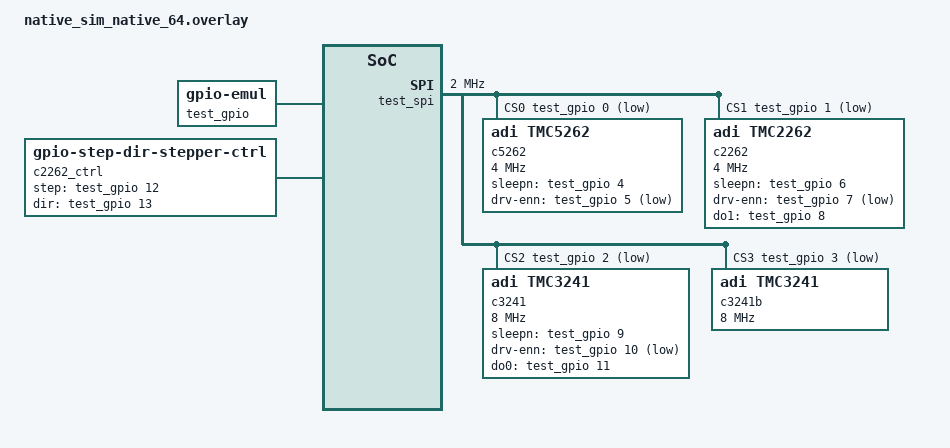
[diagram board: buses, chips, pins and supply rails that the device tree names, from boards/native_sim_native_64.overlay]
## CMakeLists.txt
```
# SPDX-FileCopyrightText: Copyright (c) 2026 Analog Devices, Inc.
# SPDX-License-Identifier: Apache-2.0

cmake_minimum_required(VERSION 3.28.0)
find_package(Zephyr REQUIRED HINTS $ENV{ZEPHYR_BASE})
project(tmc5262)

target_sources(app PRIVATE src/main.c src/tmc5262_emul.c)
# Register map of the driver, used by the emulator and the tests
target_include_directories(app PRIVATE
	${ZEPHYR_BASE}/drivers/stepper/adi_tmc/tmc5262
	${ZEPHYR_BASE}/drivers/stepper/adi_tmc/bus/include)
```

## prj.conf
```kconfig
CONFIG_ZTEST=y
CONFIG_LOG=y
CONFIG_STEPPER=y
CONFIG_STEPPER_LOG_LEVEL_INF=y
CONFIG_SPI=y
CONFIG_SPI_EMUL=y
CONFIG_GPIO=y
CONFIG_GPIO_EMUL=y
CONFIG_EMUL=y
CONFIG_PM_DEVICE=y
CONFIG_STEPPER_ADI_TMC5262_EVENT_POLL_INTERVAL_MS=10
```

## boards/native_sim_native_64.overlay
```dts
/*
 * SPDX-FileCopyrightText: Copyright (c) 2026 Analog Devices, Inc.
 * SPDX-License-Identifier: Apache-2.0
 */

/*
 * One SPI emulator bus with four chips: TMC5262 (ramp generator, event polling), TMC2262
 * (DO1 interrupt, sensor and a STEP/DIR motion controller), TMC3241 (ramp generator) and a
 * second TMC3241 without SLEEPN and DRV_ENN pins (TOFF enable, power management without sleep).
 */

#include <zephyr/dt-bindings/gpio/gpio.h>

/ {
	test_gpio: gpio-tmc5262 {
		compatible = "zephyr,gpio-emul";
		gpio-controller;
		#gpio-cells = <2>;
		rising-edge;
		falling-edge;
		status = "okay";
	};

	/* STEP/DIR motion controller of the TMC2262, which has no ramp generator */
	c2262_ctrl: motion-controller {
		compatible = "zephyr,gpio-step-dir-stepper-ctrl";
		step-gpios = <&test_gpio 12 GPIO_ACTIVE_HIGH>;
		dir-gpios = <&test_gpio 13 GPIO_ACTIVE_HIGH>;
		stepper-driver = <&c2262_drv>;
	};

	test {
		#address-cells = <1>;
		#size-cells = <1>;

		test_spi: spi@33334444 {
			#address-cells = <1>;
			#size-cells = <0>;
			compatible = "zephyr,spi-emul-controller";
			reg = <0x33334444 0x1000>;
			status = "okay";
			clock-frequency = <2000000>;
			cs-gpios = <&test_gpio 0 GPIO_ACTIVE_LOW>,
				   <&test_gpio 1 GPIO_ACTIVE_LOW>,
				   <&test_gpio 2 GPIO_ACTIVE_LOW>,
				   <&test_gpio 3 GPIO_ACTIVE_LOW>;

			c5262: tmc5262@0 {
				compatible = "adi,tmc5262";
				reg = <0>;
				spi-max-frequency = <DT_FREQ_M(4)>;
				sleepn-gpios = <&test_gpio 4 GPIO_ACTIVE_HIGH>;
				drv-enn-gpios = <&test_gpio 5 GPIO_ACTIVE_LOW>;
				current-range-ma = <4240>;
				irun = <127>;
				ihold = <32>;
				en-stealthchop;
				tpwmthrs = <500>;
				stallguard2-threshold = <(-5)>;

				c5262_sensor: sensor {
					compatible = "adi,tmc5262-sensor";
				};

				c5262_drv: stepper-driver {
					compatible = "adi,tmc5262-stepper-driver";
					micro-step-res = <16>;
				};

				c5262_ctrl: motion-controller {
					compatible = "adi,tmc5262-stepper-ctrl";
					vstart = <1>;
					a1 = <220>;
					v1 = <26843>;
					a2 = <330>;
					v2 = <40265>;
					amax = <440>;
					vmax = <53687>;
					dmax = <440>;
					d2 = <330>;
					d1 = <220>;
					vstop = <10>;
				};
			};

			c2262: tmc2262@1 {
				compatible = "adi,tmc2262";
				reg = <1>;
				spi-max-frequency = <DT_FREQ_M(4)>;
				sleepn-gpios = <&test_gpio 6 GPIO_ACTIVE_HIGH>;
				drv-enn-gpios = <&test_gpio 7 GPIO_ACTIVE_LOW>;
				do1-gpios = <&test_gpio 8 GPIO_ACTIVE_HIGH>;
				do1-sources = "error", "stall";
				current-range-ma = <6000>;
				/* Non-default StealthChop+/StallGuard+/CoolStep+/coil settings */
				cur-p = <70>;
				sgp-thrs = <20>;
				sgp-filt-en;
				cool-cur-div = <3>;
				t-rcoil-meas = <2000>;
				rcoil-manual;
				rcoil-user-a = <100>;
				rcoil-user-b = <200>;

				c2262_sensor: sensor {
					compatible = "adi,tmc5262-sensor";
				};

				c2262_drv: stepper-driver {
					compatible = "adi,tmc5262-stepper-driver";
					micro-step-res = <16>;
				};
			};

			c3241: tmc3241@2 {
				compatible = "adi,tmc3241";
				reg = <2>;
				spi-max-frequency = <DT_FREQ_M(8)>;
				sleepn-gpios = <&test_gpio 9 GPIO_ACTIVE_HIGH>;
				drv-enn-gpios = <&test_gpio 10 GPIO_ACTIVE_LOW>;
				current-range-ma = <4240>;
				hyst = <10>;
				nosd;
				/* Reference switches, virtual stop and position compare */
				stop-l-enable;
				en-softstop;
				virtual-stop-l = <(-100)>;
				virtual-stop-r = <100000>;
				x-compare = <5000>;
				x-compare-repeat = <10>;
				do0-gpios = <&test_gpio 11 GPIO_ACTIVE_HIGH>;
				do0-sources = "xcomp";

				c3241_drv: stepper-driver {
					compatible = "adi,tmc5262-stepper-driver";
					micro-step-res = <256>;
				};

				c3241_ctrl: motion-controller {
					compatible = "adi,tmc5262-stepper-ctrl";
					vmax = <53687>;
					amax = <440>;
					dmax = <440>;
				};
			};

			c3241b: tmc3241@3 {
				compatible = "adi,tmc3241";
				reg = <3>;
				spi-max-frequency = <DT_FREQ_M(8)>;

				c3241b_drv: stepper-driver {
					compatible = "adi,tmc5262-stepper-driver";
					micro-step-res = <256>;
				};
			};
		};
	};
};
```

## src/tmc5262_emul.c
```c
/*
 * SPDX-FileCopyrightText: Copyright (c) 2026 Analog Devices, Inc.
 * SPDX-License-Identifier: Apache-2.0
 */

#include <string.h>

#include <zephyr/device.h>
#include <zephyr/drivers/emul.h>
#include <zephyr/drivers/gpio.h>
#include <zephyr/drivers/gpio/gpio_emul.h>
#include <zephyr/drivers/spi.h>
#include <zephyr/drivers/spi_emul.h>
#include <zephyr/sys/byteorder.h>
#include <zephyr/sys/util.h>

#include "tmc5262_emul.h"
#include "tmc5262_reg.h"

#define EMUL_NREGS   0x80
#define EMUL_LOG_MAX 256
#define PLL_CONFIG                                                                                 \
	(TMC5262_PLL_EXT_NOT_INT | TMC5262_PLL_CLK_SYS_SEL | TMC5262_PLL_CLK_FSM_ENA |             \
	 TMC5262_PLL_CLOCK_DIVIDER)
#define EV_STOP_BITS      (TMC5262_RAMP_STAT_EVENTS)
#define DECEL_DEFAULT     3
/* DRV_STATUS.stst rises this many SPI transfers after the motor stopped */
#define STST_DELAY_XFERS  20
/* TSTEP at standstill, and while the motor runs unless a test sets another value */
#define TSTEP_STANDSTILL  0xFFFFFU
#define TSTEP_RUN_DEFAULT 100U

enum emul_variant {
	EMUL_TMC5262,
	EMUL_TMC2262,
	EMUL_TMC3241,
};

struct emul_reg_range {
	uint8_t first;
	uint8_t last;
};

/* Register availability from the datasheet register maps (independent of the driver tables) */
static const struct emul_reg_range common_regs[] = {
	{0x00, 0x02}, {0x04, 0x04}, {0x0A, 0x0B}, {0x10, 0x12}, {0x14, 0x15}, {0x1A, 0x1A},
	{0x38, 0x3C}, {0x58, 0x58}, {0x5A, 0x5A}, {0x60, 0x6D}, {0x6F, 0x6F},
};
static const struct emul_reg_range ramp_regs[] = {
	{0x05, 0x06},
	{0x20, 0x31},
	{0x34, 0x36},
	{0x3E, 0x3F},
};
static const struct emul_reg_range plus_regs[] = {
	{0x13, 0x13}, {0x16, 0x19}, {0x3D, 0x3D}, {0x40, 0x52}, {0x59, 0x59}, {0x70, 0x70},
};

struct tmc5262_emul_cfg {
	uint16_t chipsel;
	enum emul_variant variant;
	struct gpio_dt_spec sleepn;
	struct gpio_dt_spec drv_enn;
};

struct tmc5262_emul_data {
	uint32_t reg[EMUL_NREGS];
	int read_addr;
	int32_t vact;
	bool asleep;
	bool silent;
	bool no_resistor;
	bool pll_fault;
	bool pll_commit_stuck;
	int stst_countdown;
	bool mirror_write;
	uint32_t last_write_val;
	uint32_t read_requests[EMUL_NREGS];
	bool fault_persistent;
	uint32_t enc_persist;
	int pll_fail_next;
	int pll_commits;
	int decel_xfers;
	int decel_countdown;
	/* TSTEP while the motor runs, and a stall injected by the test */
	uint32_t tstep_run;
	bool stall_inject;
	uint32_t xfers;
	uint32_t invalid_access;
	uint32_t vmax_in_hold;
	uint32_t reverse_risk;
	uint32_t vmax_writes;
	uint32_t reserved_writes;
	bool floating;
	int io_err;
	int io_err_after;
	bool mark_pending;
	int64_t marked_ms;
	bool rcoil_armed;
	int rcoil_delay_ms;
	uint32_t rcoil_value;
	int64_t rcoil_write_ms;
	int64_t rcoil_first_read_ms;
	uint8_t last_status;
	struct tmc5262_emul_wr log[EMUL_LOG_MAX];
	int log_n;
};

static bool in_ranges(const struct emul_reg_range *r, size_t n, uint8_t reg)
{
	for (size_t i = 0; i < n; i++) {
		if (reg >= r[i].first && reg <= r[i].last) {
			return true;
		}
	}

	return false;
}

static bool reg_exists(enum emul_variant v, uint8_t reg)
{
	if (in_ranges(common_regs, ARRAY_SIZE(common_regs), reg)) {
		return true;
	}

	if (v != EMUL_TMC2262 && in_ranges(ramp_regs, ARRAY_SIZE(ramp_regs), reg)) {
		return true;
	}

	return v != EMUL_TMC3241 && in_ranges(plus_regs, ARRAY_SIZE(plus_regs), reg);
}

static bool has_ramp(enum emul_variant v)
{
	return v != EMUL_TMC2262;
}

static void do_reset(const struct tmc5262_emul_cfg *cfg, struct tmc5262_emul_data *d)
{
	memset(d->reg, 0, sizeof(d->reg));

	/* Datasheet reset values */
	d->reg[TMC5262_REG_GCONF] = TMC5262_GCONF_SMALL_HYSTERESIS | TMC5262_GCONF_MULTISTEP_FILT;
	d->reg[TMC5262_REG_GSTAT] = TMC5262_GSTAT_RESET | TMC5262_GSTAT_REGISTER_RESET;
	d->reg[TMC5262_REG_DO_CONF] = TMC5262_DO_CONF_DO0_INVPP | TMC5262_DO_CONF_DO1_INVPP;
	d->reg[TMC5262_REG_DRV_CONF] = 0x3C;
	d->reg[TMC5262_REG_IHOLD_IRUN] = 0x0407F040;
	d->reg[TMC5262_REG_TPOWERDOWN] = 10;
	d->reg[TMC5262_REG_ENC_CONST] = 0x00010000;
	d->reg[TMC5262_REG_OTW_OV_VTH] = 0x01FF01FF;
	d->reg[TMC5262_REG_CHOPCONF] = cfg->variant == EMUL_TMC3241 ? 0x10010000 : 0x10410150;
	d->reg[TMC5262_REG_MSLUTSEL] = 0;

	if (cfg->variant != EMUL_TMC3241) {
		d->reg[TMC5262_REG_T_RCOIL_MEAS] = 0x1000;
		/* ACCEL_THRS = 12, DECEL_THRS = 14; the TMC2262 has only DECEL_THRS */
		d->reg[TMC5262_REG_UDC_CONF] = cfg->variant == EMUL_TMC2262 ? 0x0E : 0xCE;
		d->reg[TMC5262_REG_ENCMODE] = 16U << 16;
		d->reg[TMC5262_REG_PWMCONF] = 0x000FE000;
	}

	if (cfg->variant == EMUL_TMC5262) {
		d->reg[TMC5262_REG_SW_MODE] = TMC5262_SW_MODE_HARD_STOP_CLR_CUR_INT;
	}

	/*
	 * XTARGET = XACTUAL = 0 after a reset: the generator latches event_pos_reached, as it
	 * does on every XTARGET = XACTUAL, although no move was commanded.
	 */
	d->reg[TMC5262_REG_RAMP_STAT] = TMC5262_RAMP_STAT_VZERO |
					TMC5262_RAMP_STAT_POSITION_REACHED |
					TMC5262_RAMP_STAT_EVENT_POS_REACHED;
	d->vact = 0;
	d->stall_inject = false;
	d->tstep_run = TSTEP_RUN_DEFAULT;
	d->read_addr = -1;
	d->pll_fault = false;
	d->pll_commit_stuck = false;
	d->stst_countdown = 0;
	d->mirror_write = false;
	d->fault_persistent = false;
	d->enc_persist = 0U;
	d->decel_countdown = 0;
}

static const struct tmc5262_emul_cfg *ecfg(const struct emul *e)
{
	return e->cfg;
}

static struct tmc5262_emul_data *edata(const struct emul *e)
{
	return e->data;
}

static int pin_level(const struct gpio_dt_spec *spec)
{
	if (spec->port == NULL) {
		return -1;
	}

	return gpio_emul_output_get(spec->port, spec->pin);
}

void tmc5262_emul_sync_pins(const struct emul *e)
{
	const struct tmc5262_emul_cfg *cfg = ecfg(e);
	struct tmc5262_emul_data *d = edata(e);

	if (pin_level(&cfg->sleepn) == 0) {
		d->asleep = true;
	}
}

static uint32_t tstep_get(const struct tmc5262_emul_data *d)
{
	/* A value that a test wrote to the register wins over the model */
	if (d->reg[TMC5262_REG_TSTEP] != 0U) {
		return d->reg[TMC5262_REG_TSTEP];
	}

	return d->vact == 0 ? TSTEP_STANDSTILL : d->tstep_run;
}

/* StallGuard is only active for TCOOLTHRS >= TSTEP, TCOOLTHRS = 0 is off */
static bool sg_active(const struct tmc5262_emul_data *d)
{
	uint32_t tcoolthrs = d->reg[TMC5262_REG_TCOOLTHRS] & GENMASK(19, 0);

	return tcoolthrs != 0U && tstep_get(d) <= tcoolthrs;
}

/*
 * DRV_STATUS.stallguard: as on the chip the flag reads 1 whenever StallGuard is not active
 * (SG_RESULT 0), and it signals a stall inside the window.
 */
static bool sg_flag(const struct tmc5262_emul_data *d)
{
	return d->stall_inject || !sg_active(d);
}

static uint8_t spi_status(const struct tmc5262_emul_cfg *cfg, struct tmc5262_emul_data *d)
{
	uint32_t gstat = d->reg[TMC5262_REG_GSTAT];
	uint32_t rs = d->reg[TMC5262_REG_RAMP_STAT];
	uint8_t s = 0;

	/* Table 5 of the datasheet */
	if (d->vact == 0 && d->stst_countdown == 0) {
		s |= BIT(3);
	}
	if (sg_flag(d)) {
		s |= BIT(2);
	}
	if ((gstat & TMC5262_GSTAT_DRV_ERR) != 0U) {
		s |= BIT(1);
	}
	if ((gstat & TMC5262_GSTAT_RESET) != 0U) {
		s |= BIT(0);
	}

	if (has_ramp(cfg->variant)) {
		s |= (rs & TMC5262_RAMP_STAT_VELOCITY_REACHED) != 0U ? BIT(4) : 0;
		s |= (rs & TMC5262_RAMP_STAT_POSITION_REACHED) != 0U ? BIT(5) : 0;
		s |= (rs & TMC5262_RAMP_STAT_STATUS_STOP_L) != 0U ? BIT(6) : 0;
		s |= (rs & TMC5262_RAMP_STAT_STATUS_STOP_R) != 0U ? BIT(7) : 0;
	}

	return s;
}

/* Time based behavior, advanced with every SPI transfer */
static void advance(const struct tmc5262_emul_cfg *cfg, struct tmc5262_emul_data *d)
{
	/* Short and overtemperature flags clear when the driver is disabled by DRV_ENN or TOFF = 0
	 */
	bool disabled = pin_level(&cfg->drv_enn) == 1 ||
			(d->reg[TMC5262_REG_CHOPCONF] & TMC5262_CHOPCONF_TOFF) == 0U;

	if (disabled && !d->fault_persistent) {
		d->reg[TMC5262_REG_DRV_STATUS] &=
			~(TMC5262_DRV_STATUS_S2GA | TMC5262_DRV_STATUS_S2GB |
			  TMC5262_DRV_STATUS_S2VSA | TMC5262_DRV_STATUS_S2VSB |
			  TMC5262_DRV_STATUS_OT);
	}

	/* Standstill (DRV_STATUS.stst) is only detected a while after the last step */
	if (d->vact != 0) {
		d->stst_countdown = STST_DELAY_XFERS;
	} else if (d->stst_countdown > 0) {
		d->stst_countdown--;
	}

	if (d->decel_countdown > 0 && --d->decel_countdown == 0) {
		/* The ramp generator overshoots while it decelerates towards a target behind it */
		d->reg[TMC5262_REG_XACTUAL] += d->vact > 0 ? 500U : (uint32_t)-500;
		d->vact = 0;
		d->reg[TMC5262_REG_RAMP_STAT] |= TMC5262_RAMP_STAT_VZERO;
	}
}

/* The control logic runs once the PLL is enabled, committed and free of error flags */
static bool logic_running(const struct tmc5262_emul_data *d)
{
	uint32_t pll = d->reg[TMC5262_REG_PLL];

	return (pll & TMC5262_PLL_CLK_FSM_ENA) != 0U &&
	       (pll & (TMC5262_PLL_COMMIT | TMC5262_PLL_FLAGS)) == 0U;
}

static uint32_t reg_read(const struct tmc5262_emul_cfg *cfg, struct tmc5262_emul_data *d,
			 uint8_t reg)
{
	uint32_t v = d->reg[reg];

	switch (reg) {
	case TMC5262_REG_IOIN:
		v = FIELD_PREP(TMC5262_IOIN_SILICON_RV, 2U);
		/* As on the bench: ext_res_det and ext_clk read 0 until the PLL runs */
		v |= (d->no_resistor || !logic_running(d)) ? 0U : TMC5262_IOIN_EXT_RES_DET;
		v |= logic_running(d) && (d->reg[TMC5262_REG_PLL] & TMC5262_PLL_EXT_NOT_INT) != 0U
			     ? TMC5262_IOIN_EXT_CLK
			     : 0U;
		v |= pin_level(&cfg->drv_enn) == 1 ? TMC5262_IOIN_DRV_ENN : 0U;
		break;
	case TMC5262_REG_ADC_VSUPPLY_TEMP:
		/* The ADC is part of the control logic: all zero while the PLL is down */
		v = logic_running(d) ? v : 0U;
		break;
	case TMC5262_REG_DRV_STATUS:
		v &= ~TMC5262_DRV_STATUS_STST;
		v |= (d->vact == 0 && d->stst_countdown == 0) ? TMC5262_DRV_STATUS_STST : 0U;
		v &= ~TMC5262_DRV_STATUS_STALLGUARD;
		v |= sg_flag(d) ? TMC5262_DRV_STATUS_STALLGUARD : 0U;
		break;
	case TMC5262_REG_TSTEP:
		v = tstep_get(d);
		break;
	case TMC5262_REG_VACTUAL:
		v = (uint32_t)d->vact & GENMASK(23, 0);
		break;
	case TMC5262_REG_R_COIL:
		if (d->rcoil_armed) {
			v = (k_uptime_get() - d->rcoil_write_ms >= d->rcoil_delay_ms)
				    ? d->rcoil_value
				    : 0U;
		}
		break;
	default:
		break;
	}

	return v;
}

static void log_write(struct tmc5262_emul_data *d, uint8_t reg, uint32_t val)
{
	if (d->log_n < EMUL_LOG_MAX) {
		d->log[d->log_n].reg = reg;
		d->log[d->log_n].val = val;
	}
	d->log_n++;
}

static void pll_write(struct tmc5262_emul_data *d, uint32_t val)
{
	uint32_t *pll = &d->reg[TMC5262_REG_PLL];

	*pll = (*pll & ~PLL_CONFIG) | (val & PLL_CONFIG);

	if ((val & TMC5262_PLL_CLK_FSM_ENA) == 0U) {
		/* PLL FSM in reset: all flags cleared, the fault state is left */
		*pll &= ~(TMC5262_PLL_FLAGS | TMC5262_PLL_COMMIT);
		d->pll_fault = false;
		return;
	}

	/* Write 1 to clear the flags, a fault re-asserts them */
	*pll &= ~(val & TMC5262_PLL_FLAGS);

	if ((val & TMC5262_PLL_COMMIT) != 0U) {
		d->pll_commits++;
		/* Committing sets clk_loss and clk_is_stuck until they are cleared */
		*pll |= TMC5262_PLL_CLK_LOSS | TMC5262_PLL_CLK_IS_STUCK;
		/* The commit bit clears once the PLL is stable */
		*pll &= ~TMC5262_PLL_COMMIT;
		if (d->pll_commit_stuck) {
			/* The PLL never gets stable: commit stays set */
			*pll |= TMC5262_PLL_COMMIT;
		}

		if (d->pll_fail_next > 0) {
			d->pll_fail_next--;
			d->pll_fault = true;
		}
	}

	if (d->pll_fault) {
		*pll |= TMC5262_PLL_CLK_1M0_TMO | TMC5262_PLL_CLK_LOSS;
	}
}

static void reg_write(const struct tmc5262_emul_cfg *cfg, struct tmc5262_emul_data *d, uint8_t reg,
		      uint32_t val)
{
	uint32_t *r = &d->reg[reg];

	log_write(d, reg, val);

	if (!reg_exists(cfg->variant, reg)) {
		d->invalid_access++;
		return;
	}

	switch (reg) {
	case TMC5262_REG_GSTAT:
		/* Write 1 to clear; the driver error only clears when its cause is gone */
		*r &= ~(val & (d->fault_persistent ? ~TMC5262_GSTAT_DRV_ERR : UINT32_MAX));
		break;
	case TMC5262_REG_PLL:
		pll_write(d, val);
		break;
	case TMC5262_REG_RAMP_STAT:
		*r &= ~(val & EV_STOP_BITS);
		break;
	case TMC5262_REG_ENC_STATUS:
		/* Write 1 to clear; a persisting deviation warning cannot be cleared */
		*r &= ~(val & ~d->enc_persist);
		break;
	case TMC5262_REG_IOIN:
	case TMC5262_REG_DRV_STATUS:
	case TMC5262_REG_VACTUAL:
	case TMC5262_REG_TSTEP:
		break;
	case TMC5262_REG_UDC_CONF:
		if (cfg->variant == EMUL_TMC2262 &&
		    (val & ~(TMC5262_UDC_CONF_DECEL_THRS | TMC5262_UDC_CONF_ENABLE)) != 0U) {
			d->reserved_writes++;
		}
		*r = val;
		break;
	case TMC5262_REG_T_RCOIL_MEAS:
		d->rcoil_write_ms = k_uptime_get();
		d->rcoil_first_read_ms = -1;
		*r = val;
		break;
	case TMC5262_REG_VMAX:
		d->vmax_writes++;
		if (val != 0U && (d->reg[TMC5262_REG_RAMPMODE] & 3U) == TMC5262_RAMPMODE_HOLD) {
			d->vmax_in_hold++;
		}
		*r = val;
		break;
	case TMC5262_REG_TZEROWAIT:
		/* Lowering TZEROWAIT while the generator stands still with a stale target in
		 * positioning mode lets it drive back.
		 */
		if (val != TMC5262_TZEROWAIT_MASK && d->vact == 0 &&
		    (d->reg[TMC5262_REG_RAMPMODE] & 3U) == TMC5262_RAMPMODE_POSITION &&
		    d->reg[TMC5262_REG_XTARGET] != d->reg[TMC5262_REG_XACTUAL] &&
		    d->reg[TMC5262_REG_TZEROWAIT] == TMC5262_TZEROWAIT_MASK) {
			d->reverse_risk++;
		}
		*r = val;
		break;
	case TMC5262_REG_XTARGET:
		*r = val;
		if ((d->reg[TMC5262_REG_RAMPMODE] & 3U) == TMC5262_RAMPMODE_POSITION) {
			if (val == d->reg[TMC5262_REG_XACTUAL]) {
				if (d->vact != 0 && d->decel_countdown == 0) {
					d->decel_countdown = d->decel_xfers;
				} else if (d->vact == 0) {
					d->reg[TMC5262_REG_RAMP_STAT] |=
						TMC5262_RAMP_STAT_POSITION_REACHED |
						TMC5262_RAMP_STAT_EVENT_POS_REACHED;
				}
			} else if (d->reg[TMC5262_REG_VMAX] != 0U) {
				/* A move starts */
				d->vact = val > d->reg[TMC5262_REG_XACTUAL] ? 1000 : -1000;
				d->reg[TMC5262_REG_RAMP_STAT] &=
					~(TMC5262_RAMP_STAT_VZERO |
					  TMC5262_RAMP_STAT_POSITION_REACHED);
			}
		}
		break;
	case TMC5262_REG_RAMPMODE:
		*r = val & 3U;
		if (*r == TMC5262_RAMPMODE_POSITION &&
		    d->reg[TMC5262_REG_XTARGET] == d->reg[TMC5262_REG_XACTUAL] && d->vact != 0 &&
		    d->decel_countdown == 0) {
			d->decel_countdown = d->decel_xfers;
		} else if (*r == TMC5262_RAMPMODE_VELOCITY_POS ||
			   *r == TMC5262_RAMPMODE_VELOCITY_NEG) {
			if (d->reg[TMC5262_REG_VMAX] != 0U) {
				d->vact = *r == TMC5262_RAMPMODE_VELOCITY_POS ? 1000 : -1000;
				d->reg[TMC5262_REG_RAMP_STAT] &= ~TMC5262_RAMP_STAT_VZERO;
			}
		}
		break;
	default:
		*r = val;
		break;
	}
}

static int emul_io(const struct emul *target, const struct spi_config *config,
		   const struct spi_buf_set *tx_bufs, const struct spi_buf_set *rx_bufs)
{
	const struct tmc5262_emul_cfg *cfg = ecfg(target);
	struct tmc5262_emul_data *d = edata(target);
	const uint8_t *tx;
	uint8_t *rx;
	uint32_t resp = 0U;
	uint8_t addr;

	ARG_UNUSED(config);

	if (tx_bufs == NULL || tx_bufs->count != 1 || tx_bufs->buffers[0].len != 5 ||
	    rx_bufs == NULL || rx_bufs->count != 1 || rx_bufs->buffers[0].len != 5) {
		return -EIO;
	}

	tx = tx_bufs->buffers[0].buf;
	rx = rx_bufs->buffers[0].buf;
	d->xfers++;

	if (d->mark_pending) {
		d->marked_ms = k_uptime_get();
		d->mark_pending = false;
	}

	if (d->io_err != 0) {
		if (d->io_err_after > 0) {
			d->io_err_after--;
		} else {
			return d->io_err;
		}
	}

	if (d->asleep) {
		if (pin_level(&cfg->sleepn) != 0) {
			/* Woken: all registers are back at their defaults */
			do_reset(cfg, d);
			d->asleep = false;
		} else {
			memset(rx, 0, 5);
			return 0;
		}
	}

	if (d->silent || d->floating) {
		memset(rx, d->floating ? 0xFF : 0x00, 5);
		return 0;
	}

	advance(cfg, d);

	/* The response carries the register requested by the previous datagram, or the data of
	 * the previous write
	 */
	if (d->read_addr >= 0) {
		resp = reg_read(cfg, d, (uint8_t)d->read_addr);
		d->read_requests[d->read_addr]++;
		if (d->read_addr == TMC5262_REG_R_COIL) {
			if (d->rcoil_first_read_ms < 0) {
				d->rcoil_first_read_ms = k_uptime_get() - d->rcoil_write_ms;
			}
		}
	} else if (d->mirror_write) {
		resp = d->last_write_val;
	}

	d->last_status = spi_status(cfg, d);
	rx[0] = d->last_status;
	sys_put_be32(resp, &rx[1]);

	addr = tx[0] & 0x7FU;
	if ((tx[0] & 0x80U) != 0U) {
		d->last_write_val = sys_get_be32(&tx[1]);
		d->mirror_write = true;
		reg_write(cfg, d, addr, d->last_write_val);
		d->read_addr = -1;
	} else {
		d->mirror_write = false;
		if (!reg_exists(cfg->variant, addr)) {
			d->invalid_access++;
			d->read_addr = -1;
		} else {
			d->read_addr = addr;
		}
	}

	return 0;
}

static const struct spi_emul_api emul_api = {
	.io = emul_io,
};

static int emul_init(const struct emul *target, const struct device *parent)
{
	ARG_UNUSED(parent);

	do_reset(ecfg(target), edata(target));
	edata(target)->decel_xfers = DECEL_DEFAULT;

	return 0;
}

/* ---- test control API ---- */

int tmc5262_emul_log_count(const struct emul *e)
{
	return edata(e)->log_n;
}

void tmc5262_emul_log_clear(const struct emul *e)
{
	edata(e)->log_n = 0;
}

const struct tmc5262_emul_wr *tmc5262_emul_log_get(const struct emul *e, int idx)
{
	struct tmc5262_emul_data *d = edata(e);

	return (idx >= 0 && idx < MIN(d->log_n, EMUL_LOG_MAX)) ? &d->log[idx] : NULL;
}

int tmc5262_emul_log_find(const struct emul *e, uint8_t reg, bool match_val, uint32_t val,
			  int start)
{
	struct tmc5262_emul_data *d = edata(e);

	for (int i = MAX(start, 0); i < MIN(d->log_n, EMUL_LOG_MAX); i++) {
		if (d->log[i].reg == reg && (!match_val || d->log[i].val == val)) {
			return i;
		}
	}

	return -1;
}

uint32_t tmc5262_emul_reg_get(const struct emul *e, uint8_t reg)
{
	return reg_read(ecfg(e), edata(e), reg);
}

void tmc5262_emul_reg_set(const struct emul *e, uint8_t reg, uint32_t val)
{
	edata(e)->reg[reg] = val;
}

uint32_t tmc5262_emul_invalid_access(const struct emul *e)
{
	return edata(e)->invalid_access;
}

uint32_t tmc5262_emul_vmax_in_hold(const struct emul *e)
{
	return edata(e)->vmax_in_hold;
}

uint32_t tmc5262_emul_reverse_risk(const struct emul *e)
{
	return edata(e)->reverse_risk;
}

uint32_t tmc5262_emul_vmax_writes(const struct emul *e)
{
	return edata(e)->vmax_writes;
}

uint32_t tmc5262_emul_reserved_writes(const struct emul *e)
{
	return edata(e)->reserved_writes;
}

void tmc5262_emul_set_floating(const struct emul *e, bool floating)
{
	edata(e)->floating = floating;
}

void tmc5262_emul_io_error(const struct emul *e, int err, int after)
{
	edata(e)->io_err = err;
	edata(e)->io_err_after = after;
}

void tmc5262_emul_mark_next_transfer(const struct emul *e)
{
	edata(e)->mark_pending = true;
	edata(e)->marked_ms = -1;
}

int64_t tmc5262_emul_marked_transfer_ms(const struct emul *e)
{
	return edata(e)->marked_ms;
}

void tmc5262_emul_rcoil_model(const struct emul *e, int delay_ms, uint32_t value)
{
	struct tmc5262_emul_data *d = edata(e);

	d->rcoil_armed = delay_ms >= 0;
	d->rcoil_delay_ms = delay_ms;
	d->rcoil_value = value;
	d->rcoil_first_read_ms = -1;
}

int64_t tmc5262_emul_rcoil_first_read_ms(const struct emul *e)
{
	return edata(e)->rcoil_first_read_ms;
}

void tmc5262_emul_set_silent(const struct emul *e, bool silent)
{
	edata(e)->silent = silent;
}

void tmc5262_emul_reset(const struct emul *e)
{
	do_reset(ecfg(e), edata(e));
}

void tmc5262_emul_set_no_resistor(const struct emul *e, bool no_resistor)
{
	edata(e)->no_resistor = no_resistor;
}

void tmc5262_emul_pll_commit_stuck(const struct emul *e, bool stuck)
{
	edata(e)->pll_commit_stuck = stuck;
}

uint32_t tmc5262_emul_read_requests(const struct emul *e, uint8_t reg)
{
	return edata(e)->read_requests[reg];
}

void tmc5262_emul_settle(const struct emul *e)
{
	edata(e)->stst_countdown = 0;
}

void tmc5262_emul_pll_fail_next(const struct emul *e, int n)
{
	edata(e)->pll_fail_next = n;
}

int tmc5262_emul_pll_commits(const struct emul *e)
{
	return edata(e)->pll_commits;
}

void tmc5262_emul_set_fault(const struct emul *e, uint32_t drv_status_bits, bool persistent)
{
	struct tmc5262_emul_data *d = edata(e);

	d->reg[TMC5262_REG_GSTAT] |= TMC5262_GSTAT_DRV_ERR;
	d->reg[TMC5262_REG_DRV_STATUS] |= drv_status_bits;
	d->fault_persistent = persistent;
}

void tmc5262_emul_set_stall(const struct emul *e, bool stall)
{
	const struct tmc5262_emul_cfg *cfg = ecfg(e);
	struct tmc5262_emul_data *d = edata(e);

	d->stall_inject = stall;

	/* The stop-on-stall event is only generated while StallGuard is active */
	if (stall && has_ramp(cfg->variant) && sg_active(d)) {
		d->reg[TMC5262_REG_RAMP_STAT] |= TMC5262_RAMP_STAT_EVENT_STOP_SG;
	}
}

void tmc5262_emul_set_tstep(const struct emul *e, uint32_t tstep)
{
	edata(e)->tstep_run = tstep & GENMASK(19, 0);
}

void tmc5262_emul_start_motion(const struct emul *e, int32_t velocity)
{
	struct tmc5262_emul_data *d = edata(e);

	d->vact = velocity;
	d->reg[TMC5262_REG_RAMP_STAT] &=
		~(TMC5262_RAMP_STAT_VZERO | TMC5262_RAMP_STAT_POSITION_REACHED);
}

void tmc5262_emul_finish_move(const struct emul *e)
{
	struct tmc5262_emul_data *d = edata(e);

	d->reg[TMC5262_REG_XACTUAL] = d->reg[TMC5262_REG_XTARGET];
	d->vact = 0;
	d->decel_countdown = 0;
	d->stst_countdown = STST_DELAY_XFERS;
	d->reg[TMC5262_REG_RAMP_STAT] |= TMC5262_RAMP_STAT_VZERO |
					 TMC5262_RAMP_STAT_POSITION_REACHED |
					 TMC5262_RAMP_STAT_EVENT_POS_REACHED;
}

void tmc5262_emul_set_decel_transfers(const struct emul *e, int n)
{
	edata(e)->decel_xfers = n;
}

void tmc5262_emul_ramp_stat_set(const struct emul *e, uint32_t bits)
{
	edata(e)->reg[TMC5262_REG_RAMP_STAT] |= bits;
}

void tmc5262_emul_set_enc_status(const struct emul *e, uint32_t bits, bool persistent)
{
	struct tmc5262_emul_data *d = edata(e);

	d->reg[TMC5262_REG_ENC_STATUS] |= bits;
	d->enc_persist = persistent ? bits : 0U;
}

uint32_t tmc5262_emul_transfers(const struct emul *e)
{
	return edata(e)->xfers;
}

uint8_t tmc5262_emul_last_spi_status(const struct emul *e)
{
	return edata(e)->last_status;
}

/* ---- instantiation ---- */

#define TMC5262_EMUL(n, _variant)                                                                  \
	static struct tmc5262_emul_data emul_data_##_variant##_##n;                                \
	static const struct tmc5262_emul_cfg emul_cfg_##_variant##_##n = {                         \
		.chipsel = DT_INST_REG_ADDR(n),                                                    \
		.variant = _variant,                                                               \
		.sleepn = GPIO_DT_SPEC_INST_GET_OR(n, sleepn_gpios, {0}),                          \
		.drv_enn = GPIO_DT_SPEC_INST_GET_OR(n, drv_enn_gpios, {0}),                        \
	};                                                                                         \
	EMUL_DT_INST_DEFINE(n, emul_init, &emul_data_##_variant##_##n, &emul_cfg_##_variant##_##n, \
			    &emul_api, NULL)

#define DT_DRV_COMPAT adi_tmc5262
#define EMUL_5262(n)  TMC5262_EMUL(n, EMUL_TMC5262)
DT_INST_FOREACH_STATUS_OKAY(EMUL_5262)
#undef DT_DRV_COMPAT

#define DT_DRV_COMPAT adi_tmc2262
#define EMUL_2262(n)  TMC5262_EMUL(n, EMUL_TMC2262)
DT_INST_FOREACH_STATUS_OKAY(EMUL_2262)
#undef DT_DRV_COMPAT

#define DT_DRV_COMPAT adi_tmc3241
#define EMUL_3241(n)  TMC5262_EMUL(n, EMUL_TMC3241)
DT_INST_FOREACH_STATUS_OKAY(EMUL_3241)
#undef DT_DRV_COMPAT
```

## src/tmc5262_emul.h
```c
/*
 * SPDX-FileCopyrightText: Copyright (c) 2026 Analog Devices, Inc.
 * SPDX-License-Identifier: Apache-2.0
 */

/**
 * @file
 * Test-only SPI emulator of the TMC5262, TMC2262 and TMC3241.
 *
 * It models the register file (reset values and register availability per variant), the 40 bit
 * datagram with the pipelined read, the SPI_STATUS byte, write-1-to-clear GSTAT and RAMP_STAT
 * events, IOIN (including the DRV_ENN pin level), the PLL lock handshake and a minimal ramp
 * generator (velocity, standstill, deceleration after a stop). Every register write is logged
 * so that tests can check sequences. Rules of the datasheet that the driver must obey are
 * counted as violations (access to a register the variant does not have, VMAX written in hold
 * mode, TZEROWAIT lowered while the stop target is stale, a write to reserved register bits where
 * the emulator knows them). Fault injection: silent or floating bus, SPI transfer errors, a delayed
 * coil resistance measurement.
 */

#ifndef TESTS_DRIVERS_STEPPER_TMC5262_EMUL_H_
#define TESTS_DRIVERS_STEPPER_TMC5262_EMUL_H_

#include <stdbool.h>
#include <stdint.h>

#include <zephyr/drivers/emul.h>

struct tmc5262_emul_wr {
	uint8_t reg;
	uint32_t val;
};

/** Number of logged writes since the last clear (the log holds the first 256) */
int tmc5262_emul_log_count(const struct emul *e);
void tmc5262_emul_log_clear(const struct emul *e);
const struct tmc5262_emul_wr *tmc5262_emul_log_get(const struct emul *e, int idx);
/** Number of logged writes to @p reg, optionally only those with value @p val (val_any = false) */
int tmc5262_emul_log_find(const struct emul *e, uint8_t reg, bool match_val, uint32_t val,
			  int start);

uint32_t tmc5262_emul_reg_get(const struct emul *e, uint8_t reg);
void tmc5262_emul_reg_set(const struct emul *e, uint8_t reg, uint32_t val);

/** Datasheet rule violations counted by the emulator */
uint32_t tmc5262_emul_invalid_access(const struct emul *e);
uint32_t tmc5262_emul_vmax_in_hold(const struct emul *e);
uint32_t tmc5262_emul_reverse_risk(const struct emul *e);
uint32_t tmc5262_emul_vmax_writes(const struct emul *e);
/** Writes with reserved bits set (UDC_CONF[7:4] on the TMC2262) */
uint32_t tmc5262_emul_reserved_writes(const struct emul *e);

/** Floating bus: SPI replies are all ones */
void tmc5262_emul_set_floating(const struct emul *e, bool floating);
/**
 * SPI transfer errors: after @p after more good transfers every transfer returns @p err
 * (negative errno). err = 0 removes the error.
 */
void tmc5262_emul_io_error(const struct emul *e, int err, int after);
/** Remember the time of the next SPI transfer (the first one after this call) */
void tmc5262_emul_mark_next_transfer(const struct emul *e);
/** Uptime in ms of the transfer marked by tmc5262_emul_mark_next_transfer(), -1 if none yet */
int64_t tmc5262_emul_marked_transfer_ms(const struct emul *e);
/**
 * Coil resistance model: R_COIL reads 0 until @p delay_ms after the last write to T_RCOIL_MEAS,
 * then @p value (R_COIL layout). The time of the first R_COIL read request after the write is
 * kept.
 */
void tmc5262_emul_rcoil_model(const struct emul *e, int delay_ms, uint32_t value);
/** Ms between the last T_RCOIL_MEAS write and the first R_COIL read request, -1 if none */
int64_t tmc5262_emul_rcoil_first_read_ms(const struct emul *e);

/** Sample the SLEEPN pin: low puts the emulated chip to sleep (registers are lost on wake) */
void tmc5262_emul_sync_pins(const struct emul *e);
/** Silent device: SPI replies are all zero */
void tmc5262_emul_set_silent(const struct emul *e, bool silent);
/** Reset the register bank as after a power-up or SLEEPN reset (GSTAT.reset flags set) */
void tmc5262_emul_reset(const struct emul *e);
/** Missing reference resistor (IOIN.ext_res_det = 0) */
void tmc5262_emul_set_no_resistor(const struct emul *e, bool no_resistor);
/** The PLL commit bit never clears (the PLL does not get stable) */
void tmc5262_emul_pll_commit_stuck(const struct emul *e, bool stuck);
/** Number of read requests (first datagram of a read) of a register */
uint32_t tmc5262_emul_read_requests(const struct emul *e, uint8_t reg);
/** Let DRV_STATUS.stst rise now instead of after its detection delay */
void tmc5262_emul_settle(const struct emul *e);
/** Let the next @p n PLL commits end with clk_1m0_tmo and clk_loss set */
void tmc5262_emul_pll_fail_next(const struct emul *e, int n);
int tmc5262_emul_pll_commits(const struct emul *e);

/** Driver fault: GSTAT.drv_err and the given DRV_STATUS bits; persistent faults never clear */
void tmc5262_emul_set_fault(const struct emul *e, uint32_t drv_status_bits, bool persistent);
/**
 * A stall: the StallGuard flag in DRV_STATUS and, on ramp generator variants,
 * RAMP_STAT.event_stop_sg. Like the chip the flag also reads 1 whenever StallGuard is not active
 * (TCOOLTHRS = 0 or TSTEP > TCOOLTHRS), and the event is only generated while it is active.
 */
void tmc5262_emul_set_stall(const struct emul *e, bool stall);
/** TSTEP while the motor runs (20 bit), it reads 0xFFFFF at standstill. The default is 100. */
void tmc5262_emul_set_tstep(const struct emul *e, uint32_t tstep);
/** The motor runs at @p velocity (not standstill, vzero = 0) */
void tmc5262_emul_start_motion(const struct emul *e, int32_t velocity);
/** The move is complete: XACTUAL = XTARGET, standstill, position reached and its event */
void tmc5262_emul_finish_move(const struct emul *e);
/** Number of SPI transfers a deceleration takes after a stop was requested */
void tmc5262_emul_set_decel_transfers(const struct emul *e, int n);
/** Set a latched RAMP_STAT bit (events 4..7, status bits) */
void tmc5262_emul_ramp_stat_set(const struct emul *e, uint32_t bits);
/** Set ENC_STATUS bits (TriCoder / encoder events); persistent bits survive a clear */
void tmc5262_emul_set_enc_status(const struct emul *e, uint32_t bits, bool persistent);
/** Number of SPI transfers handled */
uint32_t tmc5262_emul_transfers(const struct emul *e);
/** Last SPI_STATUS byte the emulator returned */
uint8_t tmc5262_emul_last_spi_status(const struct emul *e);

#endif /* TESTS_DRIVERS_STEPPER_TMC5262_EMUL_H_ */
```
